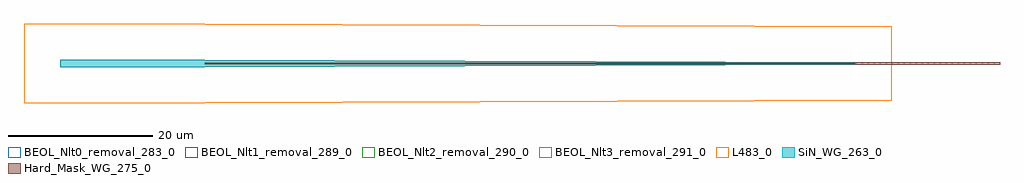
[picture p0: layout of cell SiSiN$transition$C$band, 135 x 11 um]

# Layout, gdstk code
import gdstk
lib = gdstk.Library(unit=1e-6, precision=1e-09)
def R(c, l, rs):  # rectangles x0, y0, x1, y1
    for r in rs: c.add(gdstk.rectangle(r[:2], r[2:], *l))
def P(c, l, *ps):  # polygons
    for p in ps: c.add(gdstk.Polygon(p, *l))
SiN_WG_263_0 = (263, 0)
Hard_Mask_WG_275_0 = (275, 0)
BEOL_Nlt0_removal_283_0 = (283, 0)
BEOL_Nlt1_removal_289_0 = (289, 0)
BEOL_Nlt2_removal_290_0 = (290, 0)
BEOL_Nlt3_removal_291_0 = (291, 0)
L483_0 = (483, 0)

sisin_transition_c_band = lib.new_cell('SiSiN$transition$C$band')
R(sisin_transition_c_band, SiN_WG_263_0, [(-0.165,0.212,19.835,1.212)])
P(sisin_transition_c_band, SiN_WG_263_0, [(19.835,0.212),(19.835,1.212),(109.835,0.862),(109.835,0.562)])
R(sisin_transition_c_band, Hard_Mask_WG_275_0, [(109.835,0.507,129.835,0.917)])
P(sisin_transition_c_band, Hard_Mask_WG_275_0, [(109.835,0.507),(19.835,0.637),(19.835,0.787),(109.835,0.917)])
P(sisin_transition_c_band, BEOL_Nlt0_removal_283_0, [(-5.165,-4.788),(-5.165,6.212),(19.835,6.212),(114.835,5.843),(114.835,-4.419),(19.854,-4.788)])
P(sisin_transition_c_band, BEOL_Nlt1_removal_289_0, [(-5.165,-4.788),(-5.165,6.212),(19.835,6.212),(114.835,5.843),(114.835,-4.419),(19.854,-4.788)])
P(sisin_transition_c_band, BEOL_Nlt2_removal_290_0, [(-5.165,-4.788),(-5.165,6.212),(19.835,6.212),(114.835,5.843),(114.835,-4.419),(19.854,-4.788)])
P(sisin_transition_c_band, BEOL_Nlt3_removal_291_0, [(-5.165,-4.788),(-5.165,6.212),(19.835,6.212),(114.835,5.843),(114.835,-4.419),(19.854,-4.788)])
P(sisin_transition_c_band, L483_0, [(-5.165,-4.788),(-5.165,6.212),(19.835,6.212),(114.835,5.843),(114.835,-4.419),(19.854,-4.788)])

lib.write_gds('SiSiN_transition_C_band.gds')
